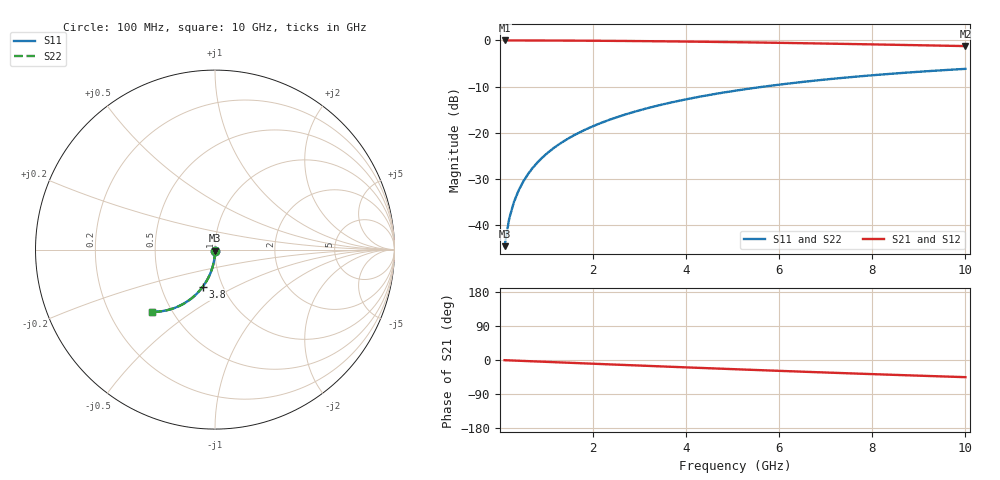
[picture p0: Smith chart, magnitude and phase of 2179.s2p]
# Hz S RI R 50.00
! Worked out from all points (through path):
!   100 points, 100 MHz to 10 GHz, reference 50 ohm
!   highest |S21| = 0.00 dB at 100 MHz (marker M1); lowest = -1.2 dB at 10 GHz (marker M2)
!   group delay of S21, straight-line fit = 12.6 ps
!   lowest |S11| = -44.5 dB at 100 MHz (marker M3), VSWR 1.01, Z = 50 - j0.597 ohm
!   |S11| at or under -10 dB: start of sweep to 5.661 GHz
!   |S22| runs from -44.5 to -6.1 dB; largest |S21 - S12| = 0
!   S11 on the Smith chart (normalised r, x): 100 MHz: 1.00, -0.01; 3.8 GHz: 0.80, -0.35; 10 GHz: 0.39, -0.36
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1e8  0.000337 -0.00596  0.9995 -0.00858  0.9995 -0.00858  0.000337 -0.00596
2e8  0.000179 -0.0119  0.9994 -0.0172  0.9994 -0.0172  0.000179 -0.0119
3e8  -8.22e-05 -0.0179  0.9991 -0.0257  0.9991 -0.0257  -8.22e-05 -0.0179
4e8  -0.000446 -0.0238  0.9987 -0.0343  0.9987 -0.0343  -0.000446 -0.0238
5e8  -0.000911 -0.0298  0.9982 -0.0429  0.9982 -0.0429  -0.000911 -0.0298
6e8  -0.00148 -0.0357  0.9976 -0.0514  0.9976 -0.0514  -0.00148 -0.0357
8e8  -0.00292 -0.0475  0.996 -0.0685  0.996 -0.0685  -0.00292 -0.0475
9e8  -0.00379 -0.0534  0.9951 -0.077  0.9951 -0.077  -0.00379 -0.0534
1.1e9  -0.00584 -0.0652  0.9929 -0.094  0.9929 -0.094  -0.00584 -0.0652
1.4e9  -0.00965 -0.0826  0.9889 -0.1193  0.9889 -0.1193  -0.00965 -0.0826
1.8e9  -0.0161 -0.1054  0.982 -0.1527  0.982 -0.1527  -0.0161 -0.1054
2.1e9  -0.0219 -0.1222  0.9757 -0.1773  0.9757 -0.1773  -0.0219 -0.1222
2.5e9  -0.031 -0.1439  0.966 -0.2096  0.966 -0.2096  -0.031 -0.1439
2.9e9  -0.0414 -0.1649  0.9548 -0.2412  0.9548 -0.2412  -0.0414 -0.1649
3.4e9  -0.0563 -0.1899  0.9388 -0.2795  0.9388 -0.2795  -0.0563 -0.1899
3.8e9  -0.0696 -0.2087  0.9245 -0.309  0.9245 -0.309  -0.0696 -0.2087
4.4e9  -0.0915 -0.235  0.9008 -0.3513  0.9008 -0.3513  -0.0915 -0.235
5.1e9  -0.1197 -0.2624  0.8702 -0.3974  0.8702 -0.3974  -0.1197 -0.2624
5.9e9  -0.1547 -0.289  0.832 -0.4457  0.832 -0.4457  -0.1547 -0.289
6.7e9  -0.1918 -0.3104  0.7912 -0.4889  0.7912 -0.4889  -0.1918 -0.3104
8.4e9  -0.2739 -0.3392  0.6994 -0.5646  0.6994 -0.5646  -0.2739 -0.3392
1e10  -0.3503 -0.3468  0.6114 -0.6174  0.6114 -0.6174  -0.3503 -0.3468
